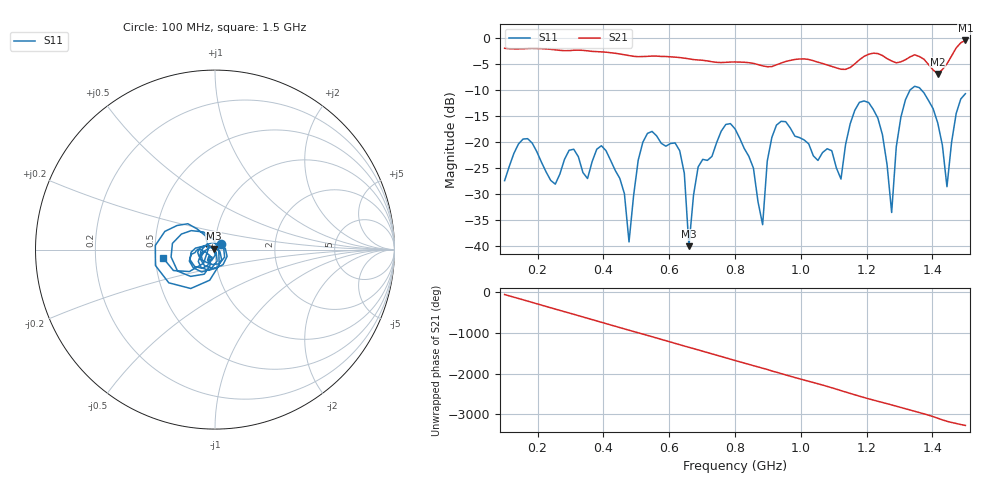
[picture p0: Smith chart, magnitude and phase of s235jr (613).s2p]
! NanoVNA-App
! Date: 2025-09-25 15:08:56
! Start: 100MHz Stop: 1,5GHz Points: 101
! S-Parameter data: F S11 S21 S12 S22
# Hz S RI R 50
!  Frequency  S11_Real  S11_Imag  S21_Real  S21_Imag  S12_Real  S12_Imag  S22_Real  S22_Imag
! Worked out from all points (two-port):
!   101 points, 100 MHz to 1.5 GHz, reference 50 ohm
!   highest |S21| = -0.45 dB at 1.5 GHz (marker M1); lowest = -6.9 dB at 1.416 GHz (marker M2)
!   |S21| within 3 dB of the highest: start of sweep to 486.3 MHz; 1.194 GHz to 1.25 GHz (55.75 MHz wide, 4.56 % of centre) (the widest 2 of 4)
!   lowest |S11| = -40.1 dB at 660 MHz (marker M3), VSWR 1.02, Z = 49.2 + j0.573 ohm
!   |S11| at or under -10 dB: start of sweep to 1.332 GHz; 1.366 GHz to end of sweep
!   S12 and S22 are empty: the file has one direction only
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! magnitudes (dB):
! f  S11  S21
! 100 MHz  -27.5  -2.0
! 156 MHz  -19.5  -2.1
! 338 MHz  -25.9  -2.4
! 408 MHz  -21.7  -2.7
! 478 MHz  -39.3  -3.4
! 520 MHz  -20.1  -3.5
! 576 MHz  -20.3  -3.5
! 632 MHz  -21.7  -3.7
! 660 MHz  -40.1  -4.0
! 688 MHz  -24.8  -4.2
! 800 MHz  -17.5  -4.6
! 884 MHz  -36.0  -5.4
! 926 MHz  -16.8  -5.1
! 1.038 GHz  -22.7  -4.4
! 1.122 GHz  -27.2  -6.0
! 1.206 GHz  -12.4  -3.1
! 1.276 GHz  -33.6  -4.4
! 1.29 GHz  -21.0  -4.8
! 1.332 GHz  -10.0  -3.6
! 1.416 GHz  -16.4  -6.9
! 1.444 GHz  -28.6  -5.0
! 1.5 GHz  -10.7  -0.5
